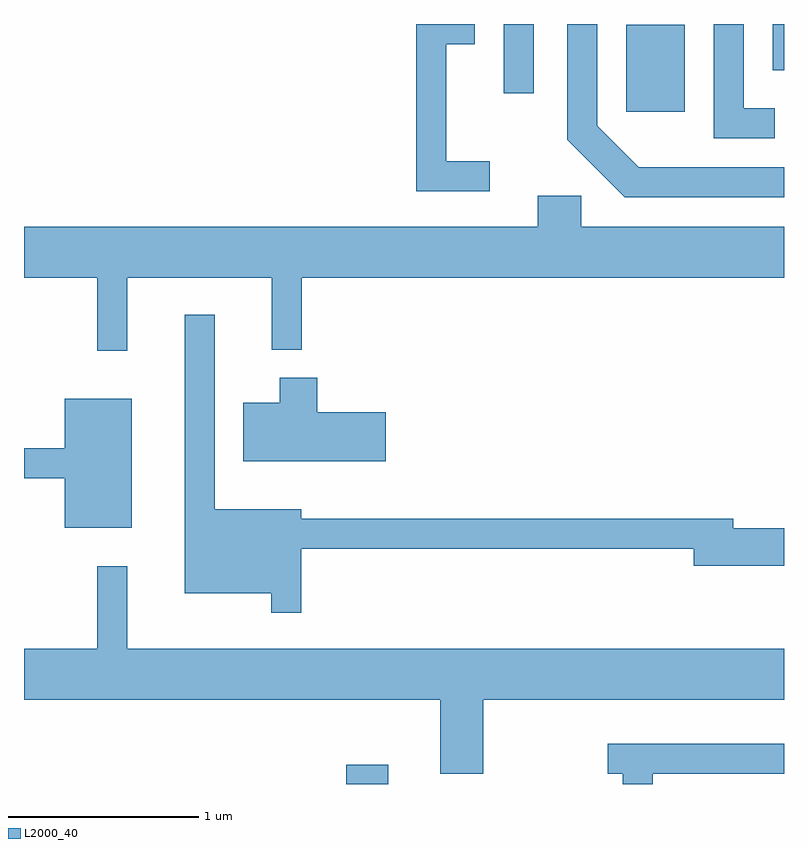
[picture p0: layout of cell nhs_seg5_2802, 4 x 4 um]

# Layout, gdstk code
import gdstk
lib = gdstk.Library(unit=1e-6, precision=1e-09)
def R(c, l, rs):  # rectangles x0, y0, x1, y1
    for r in rs: c.add(gdstk.rectangle(r[:2], r[2:], *l))
def P(c, l, *ps):  # polygons
    for p in ps: c.add(gdstk.Polygon(p, *l))
L2000_40 = (2000, 40)

nhs_seg5_2802 = lib.new_cell('nhs_seg5_2802')
R(nhs_seg5_2802, L2000_40, [(269.306,1514.072,269.529,1514.174), (270.781,1517.611,271.089,1518.069), (270.136,1517.708,270.294,1518.072), (271.551,1517.828,271.611,1518.072)])
P(nhs_seg5_2802, L2000_40, [(271.611,1517.319),(270.847,1517.319),(270.629,1517.537),(270.629,1518.072),(270.471,1518.072),(270.471,1517.464),(270.774,1517.161),(271.611,1517.161)],
  [(270.063,1517.349),(269.834,1517.349),(269.834,1517.966),(269.984,1517.966),(269.984,1518.072),(269.676,1518.072),(269.676,1517.191),(270.063,1517.191)],
  [(271.563,1517.629),(271.399,1517.629),(271.399,1518.072),(271.241,1518.072),(271.241,1517.471),(271.563,1517.471)],
  [(267.611,1516.736),(267.996,1516.736),(267.996,1516.353),(268.154,1516.353),(268.154,1516.736),(268.916,1516.736),(268.916,1516.358),(269.074,1516.358),(269.074,1516.736),(271.611,1516.736),(271.611,1517.004),(270.544,1517.004),(270.544,1517.169),(270.316,1517.169),(270.316,1517.004),(267.611,1517.004)],
  [(269.069,1515.311),(271.136,1515.311),(271.136,1515.221),(271.611,1515.221),(271.611,1515.419),(271.344,1515.419),(271.344,1515.469),(269.069,1515.469),(269.069,1515.519),(268.614,1515.519),(268.614,1516.543),(268.456,1516.543),(268.456,1515.076),(268.911,1515.076),(268.911,1514.973),(269.069,1514.973)],
  [(269.514,1516.029),(269.154,1516.029),(269.154,1516.209),(268.956,1516.209),(268.956,1516.079),(268.766,1516.079),(268.766,1515.771),(269.514,1515.771)],
  [(268.179,1516.099),(267.826,1516.099),(267.826,1515.839),(267.611,1515.839),(267.611,1515.681),(267.826,1515.681),(267.826,1515.421),(268.179,1515.421)],
  [(270.029,1514.516),(271.611,1514.516),(271.611,1514.784),(268.154,1514.784),(268.154,1515.218),(267.996,1515.218),(267.996,1514.784),(267.611,1514.784),(267.611,1514.516),(269.801,1514.516),(269.801,1514.126),(270.029,1514.126)],
  [(270.919,1514.126),(271.611,1514.126),(271.611,1514.284),(270.683,1514.284),(270.683,1514.126),(270.761,1514.126),(270.761,1514.072),(270.919,1514.072)])

lib.write_gds('nhs_seg5_2802.gds')
